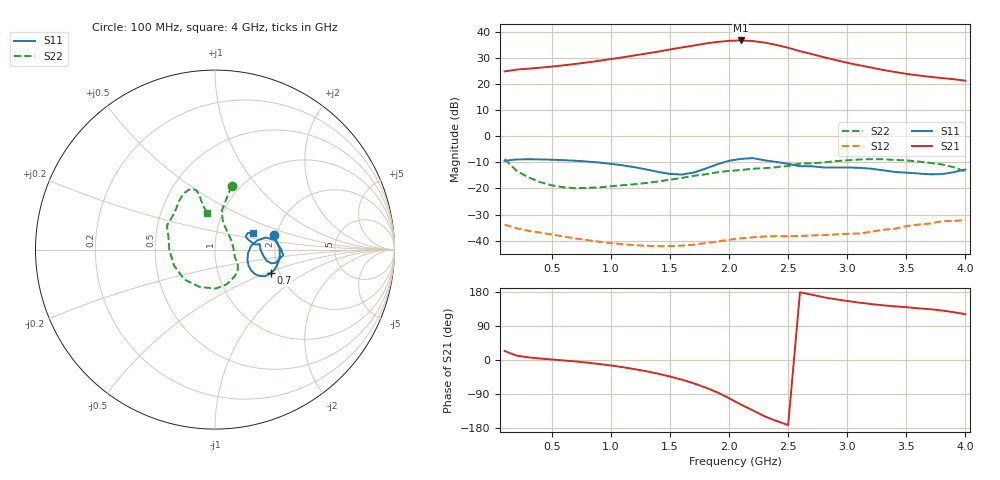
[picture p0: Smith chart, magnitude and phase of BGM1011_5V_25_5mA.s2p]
! Bias: Vs=5.00 V; Is=25.5 mA
#  MHz  S  MA  R 50
! Freq  S11  S21  S12  S22
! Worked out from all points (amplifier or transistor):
!   40 points, 100 MHz to 4 GHz, reference 50 ohm
!   highest |S21| = 36.7 dB at 2.1 GHz (marker M1)
!   |S21| within 3 dB of that: 1.558 GHz to 2.515 GHz (956.6 MHz wide, 47 % of centre)
!   unconditionally stable (mu >= 1): start of sweep to 1.866 GHz; 2.517 GHz to end of sweep
!   at 700 MHz: K = 1.73, MAG = 28.5 dB, |S12| = -39.1 dB
!   at 2.1 GHz: K = 0.86, MSG = 37.9 dB, |S12| = -39.1 dB
!   at 4 GHz: K = 1.69, MAG = 21.9 dB, |S12| = -32.1 dB
!   S11 on the Smith chart (normalised r, x): 100 MHz: 1.94, +0.35; 700 MHz: 1.81, -0.53; 4 GHz: 1.50, +0.30
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100  0.3389 13.7  17.47 23.9  0.02029 15.7  0.3658 75.4
200  0.3596 1.2  18.92 11.7  0.01727 3.2  0.2189 80.2
700  0.3395 -22.5  24.32 -3.9  0.01104 -9.6  0.1012 18.3
800  0.3278 -25.6  25.97 -7.1  0.01022 -7.2  0.1028 5.2
1100  0.277 -31.2  32.56 -18.9  0.008556 3.4  0.1154 -18.1
1400  0.2073 -25.6  41.87 -36.2  0.007839 18.6  0.1359 -27.5
1600  0.185 -6.2  50.32 -51.7  0.008031 29.8  0.1589 -36.7
1700  0.2014 5.7  54.76 -61.5  0.008359 35.3  0.1746 -43.8
1800  0.2395 12.2  59.88 -72.6  0.008984 40.0  0.1865 -55.0
1900  0.2905 13.5  64.17 -85.3  0.009594 44.0  0.2037 -70.9
2000  0.3395 8.8  67.3 -100.8  0.01039 45.5  0.2169 -88.6
2100  0.3687 0.3  68.49 -117.5  0.01107 46.3  0.2251 -112.2
2200  0.3811 -4.6  66.89 -132.7  0.01155 45.6  0.2388 -135.9
2300  0.3465 -12.3  62.28 -148.5  0.01204 45.2  0.2448 -159.0
2400  0.3225 -13.8  56.25 -160.9  0.01215 45.8  0.2549 179.6
2500  0.2965 -12.3  49.6 -171.8  0.01215 45.4  0.27 164.1
2600  0.267 -6.3  42.66 178.7  0.01232 46.5  0.2995 153.6
2700  0.2663 -5.4  37.54 172.3  0.01259 52.2  0.3041 138.6
2800  0.2529 0.3  32.83 165.7  0.01277 53.4  0.3146 133.2
3000  0.2525 5.7  25.61 155.8  0.01351 58.5  0.3468 123.0
3400  0.2076 11.5  17.09 141.7  0.0168 67.4  0.3521 108.5
4000  0.2311 23.9  11.59 121.0  0.02475 55.9  0.211 102.2
